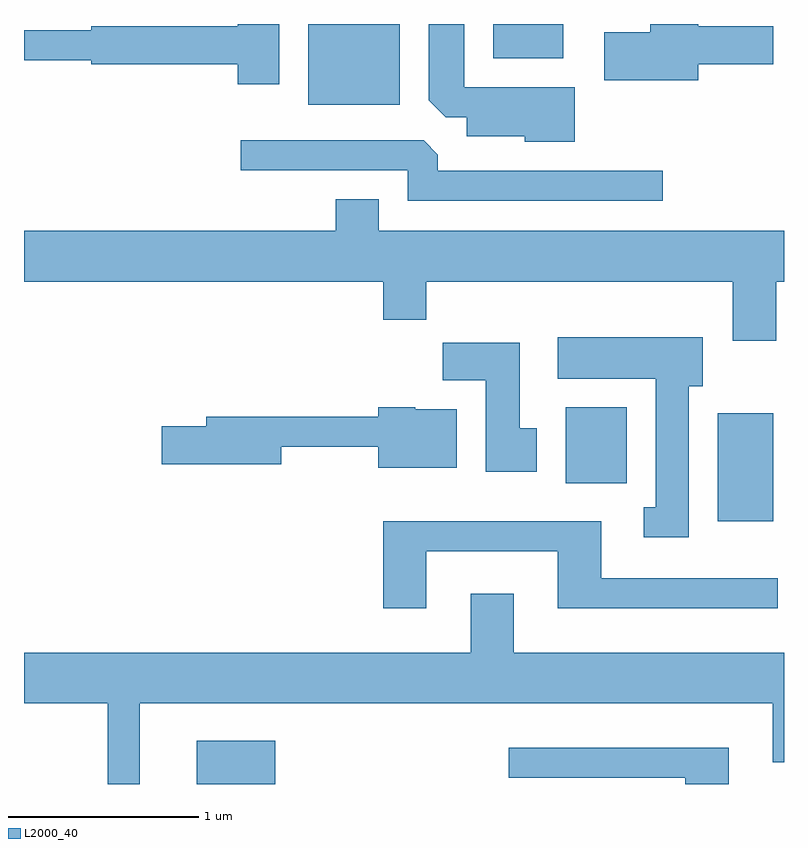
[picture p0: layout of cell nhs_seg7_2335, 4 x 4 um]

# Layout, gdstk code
import gdstk
lib = gdstk.Library(unit=1e-6, precision=1e-09)
def R(c, l, rs):  # rectangles x0, y0, x1, y1
    for r in rs: c.add(gdstk.rectangle(r[:2], r[2:], *l))
def P(c, l, *ps):  # polygons
    for p in ps: c.add(gdstk.Polygon(p, *l))
L2000_40 = (2000, 40)

nhs_seg7_2335 = lib.new_cell('nhs_seg7_2335')
R(nhs_seg7_2335, L2000_40, [(256.521,1798.252,256.934,1798.479), (259.261,1799.636,259.554,1800.204), (258.461,1799.836,258.784,1800.234), (257.106,1801.826,257.589,1802.252), (258.081,1802.071,258.449,1802.252)])
P(nhs_seg7_2335, L2000_40, [(258.509,1801.919),(257.929,1801.919),(257.929,1802.252),(257.741,1802.252),(257.741,1801.852),(257.832,1801.761),(257.941,1801.761),(257.941,1801.661),(258.246,1801.661),(258.246,1801.631),(258.509,1801.631)],
  [(259.159,1802.041),(259.554,1802.041),(259.554,1802.239),(259.159,1802.239),(259.159,1802.252),(258.906,1802.252),(258.906,1802.209),(258.666,1802.209),(258.666,1801.956),(259.159,1801.956)],
  [(256.954,1802.252),(256.736,1802.252),(256.736,1802.239),(255.966,1802.239),(255.966,1802.219),(255.611,1802.219),(255.611,1802.061),(255.966,1802.061),(255.966,1802.041),(256.736,1802.041),(256.736,1801.936),(256.954,1801.936)],
  [(258.973,1801.479),(257.789,1801.479),(257.789,1801.564),(257.714,1801.639),(256.753,1801.639),(256.753,1801.481),(257.631,1801.481),(257.631,1801.321),(258.973,1801.321)],
  [(259.569,1800.896),(259.611,1800.896),(259.611,1801.164),(257.479,1801.164),(257.479,1801.329),(257.251,1801.329),(257.251,1801.164),(255.611,1801.164),(255.611,1800.896),(257.501,1800.896),(257.501,1800.696),(257.729,1800.696),(257.729,1800.896),(259.341,1800.896),(259.341,1800.586),(259.569,1800.586)],
  [(259.109,1800.346),(259.184,1800.346),(259.184,1800.604),(258.421,1800.604),(258.421,1800.386),(258.936,1800.386),(258.936,1799.709),(258.873,1799.709),(258.873,1799.551),(259.109,1799.551)],
  [(258.309,1800.124),(258.219,1800.124),(258.219,1800.574),(257.816,1800.574),(257.816,1800.376),(258.041,1800.376),(258.041,1799.896),(258.309,1799.896)],
  [(257.889,1800.224),(257.67,1800.224),(257.67,1800.234),(257.476,1800.234),(257.476,1800.184),(256.571,1800.184),(256.571,1800.134),(256.336,1800.134),(256.336,1799.936),(256.964,1799.936),(256.964,1800.026),(257.476,1800.026),(257.476,1799.916),(257.889,1799.916)],
  [(257.729,1799.476),(258.421,1799.476),(258.421,1799.176),(259.578,1799.176),(259.578,1799.334),(258.649,1799.334),(258.649,1799.634),(257.501,1799.634),(257.501,1799.176),(257.729,1799.176)],
  [(256.219,1798.676),(259.551,1798.676),(259.551,1798.366),(259.611,1798.366),(259.611,1798.944),(258.189,1798.944),(258.189,1799.254),(257.961,1799.254),(257.961,1798.944),(255.611,1798.944),(255.611,1798.676),(256.051,1798.676),(256.051,1798.252),(256.219,1798.252)],
  [(259.319,1798.444),(258.163,1798.444),(258.163,1798.286),(259.091,1798.286),(259.091,1798.252),(259.319,1798.252)])

lib.write_gds('nhs_seg7_2335.gds')
